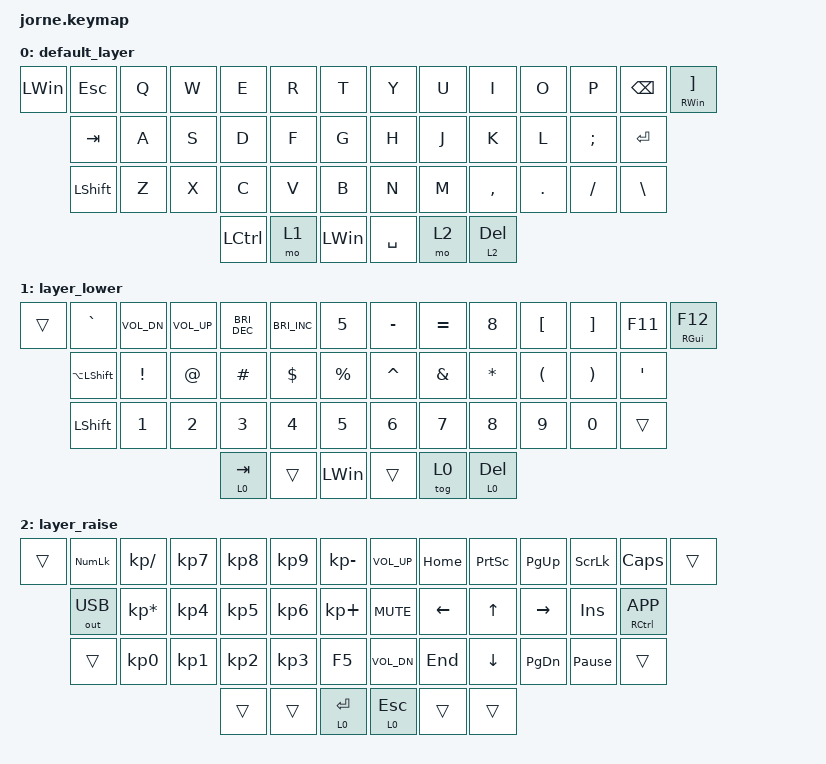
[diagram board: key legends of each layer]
/*
 * Copyright (c) 2020 The ZMK Contributors
 *
 * SPDX-License-Identifier: MIT
 */
/* THIS FILE WAS GENERATED!
 *
 * This file was generated automatically. You may or may not want to
 * edit it directly.
 */

#include <behaviors.dtsi>
#include <dt-bindings/zmk/keys.h>
#include <dt-bindings/zmk/outputs.h>

/ {
    keymap {
        compatible = "zmk,keymap";

        default_layer {
            bindings = <
&kp LWIN  &kp ESCAPE      &kp Q  &kp W  &kp E      &kp R  &kp T         &kp Y      &kp U  &kp I      &kp O    &kp P     &kp BACKSPACE  &mt RWIN RBKT
          &kp TAB         &kp A  &kp S  &kp D      &kp F  &kp G         &kp H      &kp J  &kp K      &kp L    &kp SEMI  &kp ENTER
          &kp LEFT_SHIFT  &kp Z  &kp X  &kp C      &kp V  &kp B         &kp N      &kp M  &kp COMMA  &kp DOT  &kp FSLH  &kp BSLH
                                        &kp LCTRL  &mo 1  &kp LEFT_WIN  &kp SPACE  &mo 2  &lt 2 DEL
            >;
        };

        layer_lower {
            bindings = <
&trans  &kp GRAVE       &kp C_VOL_DN  &kp C_VOLUME_UP  &kp C_BRI_DEC  &kp C_BRIGHTNESS_INC  &kp N5        &kp MINUS  &kp EQUAL  &kp N8     &kp LEFT_BRACKET  &kp RIGHT_BRACKET  &kp F11  &mt RGUI F12
        &kp LA(LSHIFT)  &kp EXCL      &kp AT           &kp HASH       &kp DLLR              &kp PRCNT     &kp CARET  &kp AMPS   &kp STAR   &kp LPAR          &kp RPAR           &kp SQT
        &kp LEFT_SHIFT  &kp N1        &kp N2           &kp N3         &kp N4                &kp N5        &kp N6     &kp N7     &kp N8     &kp N9            &kp N0             &trans
                                                       &lt 0 TAB      &trans                &kp LEFT_WIN  &trans     &tog 0     &lt 0 DEL
            >;
        };

        layer_raise {
            bindings = <
&trans  &kp KP_NUM    &kp KP_SLASH     &kp KP_N7  &kp KP_N8  &kp KP_N9  &kp KP_MINUS  &kp C_VOL_UP  &kp HOME  &kp PSCRN  &kp PG_UP  &kp SLCK         &kp CAPS         &trans
        &out OUT_USB  &kp KP_MULTIPLY  &kp KP_N4  &kp KP_N5  &kp KP_N6  &kp KP_PLUS   &kp C_MUTE    &kp LEFT  &kp UP     &kp RIGHT  &kp INS          &mt RCTRL K_APP
        &trans        &kp KP_N0        &kp KP_N1  &kp KP_N2  &kp KP_N3  &kp F5        &kp C_VOL_DN  &kp END   &kp DOWN   &kp PG_DN  &kp PAUSE_BREAK  &trans
                                                  &trans     &trans     &lt 0 RET     &lt 0 ESC     &trans    &trans
            >;
        };
    };
};
